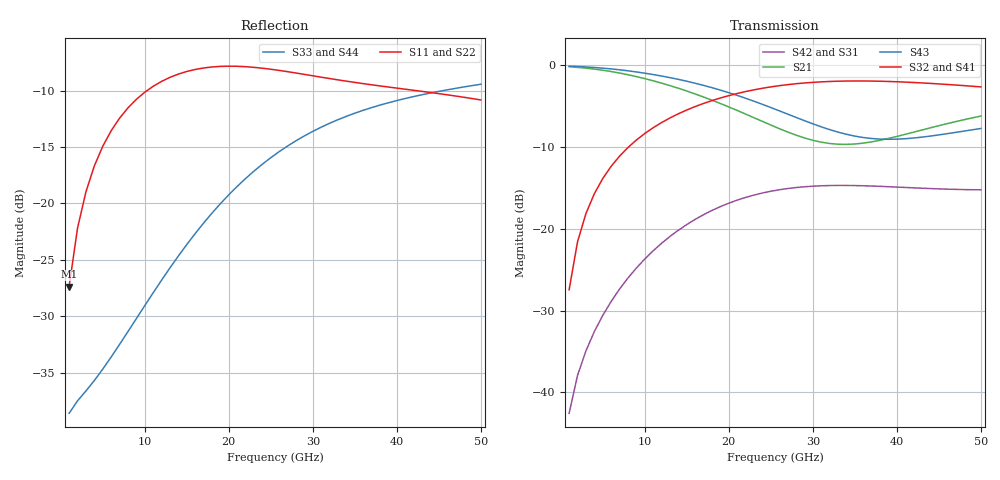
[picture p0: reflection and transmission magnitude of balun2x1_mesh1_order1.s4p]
! Created with skrf 2.1.0 (http://scikit-rf.org).
# GHz S DB R 50.0
! Port[1] = P1
! Port[2] = P2
! Port[3] = P3
! Port[4] = P4
!freq dBS11 angS11 dBS12 angS12 dBS13 angS13
! dBS14 angS14
! dBS21 angS21 dBS22 angS22 dBS23 angS23
! dBS24 angS24
! dBS31 angS31 dBS32 angS32 dBS33 angS33
! dBS34 angS34
! dBS41 angS41 dBS42 angS42 dBS43 angS43
! dBS44 angS44
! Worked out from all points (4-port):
!   50 points, 1 GHz to 50 GHz, reference 50 ohm
!   strongest paths, dB at 1 GHz, 13 GHz, 26 GHz, 38 GHz, 50 GHz:
!     S32: -27.5, -6.4, -2.5, -2.0, -2.7
!     S41: -27.5, -6.5, -2.5, -2.0, -2.7
!     S43: -0.1, -1.5, -5.6, -9.0, -7.7
!     S21: -0.2, -2.5, -7.7, -9.2, -6.2
!     S42: -42.6, -20.9, -15.2, -14.8, -15.2
!     S31: -42.6, -21.1, -15.5, -15.0, -15.3
!   lowest |S11| = -27.4 dB at 1 GHz (marker M1), VSWR 1.09, Z = 51.9 + j3.93 ohm
!   |S11| at or under -10 dB: start of sweep to 10.27 GHz; 42.29 GHz to end of sweep
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1  -27.36 61.9  -0.18 -5.3  -42.58 -116.7  -27.47 84.6
   -0.18 -5.3  -27.36 61.8  -27.47 84.6  -42.57 -116.9
   -42.58 -116.7  -27.47 84.6  -38.59 3.8  -0.12 -2.7
   -27.47 84.6  -42.57 -116.9  -0.12 -2.7  -38.59 3.8
4  -16.68 61.9  -0.47 -19.9  -32.62 -147.2  -15.72 74.0
   -0.47 -19.9  -16.68 61.5  -15.72 73.9  -32.58 -147.9
   -32.62 -147.2  -15.72 73.9  -35.68 -18.9  -0.28 -10.2
   -15.72 74.0  -32.58 -147.9  -0.28 -10.2  -35.62 -18.9
9  -10.77 41.0  -1.39 -43.7  -24.92 167.2  -9.15 56.0
   -1.39 -43.7  -10.79 40.3  -9.15 56.0  -24.81 166.2
   -24.92 167.2  -9.15 56.0  -30.20 -64.2  -0.82 -22.2
   -9.15 56.0  -24.81 166.2  -0.82 -22.2  -30.04 -64.4
17  -8.00 9.3  -3.89 -82.3  -18.46 109.0  -4.68 29.5
    -3.89 -82.3  -8.06 7.9  -4.67 29.4  -18.28 107.5
    -18.46 109.0  -4.67 29.4  -21.74 -130.0  -2.47 -39.0
    -4.68 29.5  -18.28 107.5  -2.47 -39.0  -21.55 -130.0
27  -8.32 -19.0  -8.16 -142.8  -15.31 54.9  -2.40 -1.5
    -8.16 -142.8  -8.51 -20.9  -2.37 -1.8  -15.08 52.7
    -15.31 54.9  -2.37 -1.8  -14.91 171.3  -5.98 -50.5
    -2.40 -1.5  -15.08 52.7  -5.98 -50.5  -14.73 171.0
39  -9.68 -38.5  -8.95 126.2  -15.06 12.7  -2.02 -33.8
    -8.95 126.2  -10.02 -40.1  -1.99 -34.3  -14.86 9.4
    -15.06 12.7  -1.99 -34.3  -11.08 123.7  -9.06 -35.6
    -2.02 -33.8  -14.86 9.4  -9.06 -35.6  -10.92 122.9
50  -10.83 -55.3  -6.22 76.3  -15.33 -9.1  -2.68 -57.1
    -6.22 76.3  -11.19 -56.8  -2.65 -57.9  -15.24 -13.1
    -15.33 -9.1  -2.65 -57.9  -9.43 95.5  -7.74 -26.5
    -2.68 -57.1  -15.24 -13.1  -7.74 -26.5  -9.30 94.3
